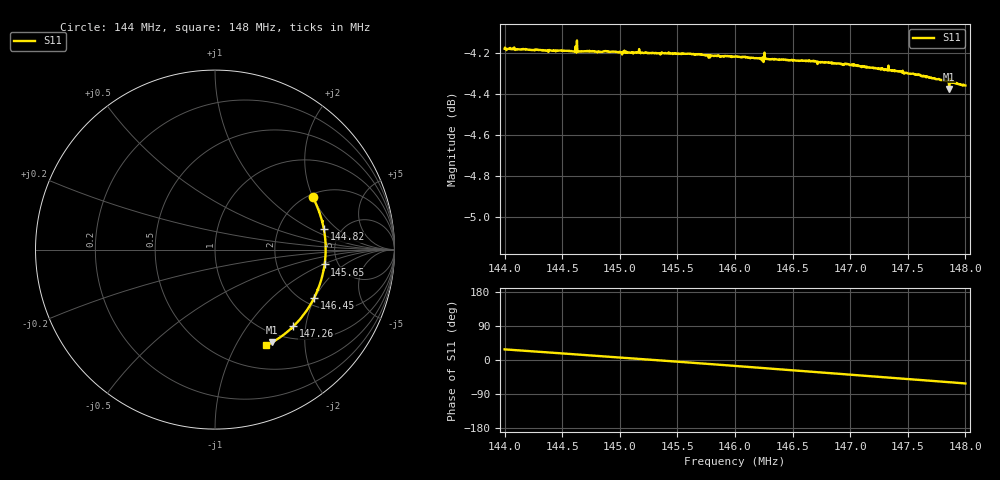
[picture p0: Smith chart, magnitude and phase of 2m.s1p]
! Calibrated averaged scanner-service zoom
# Hz S RI R 50
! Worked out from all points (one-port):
!   1001 points, 144 MHz to 148 MHz, reference 50 ohm
!   lowest |S11| = -4.4 dB at 147.86 MHz (marker M1), VSWR 4.05, Z = 43.3 - j70.3 ohm
!   |S11| at or under -10 dB: nowhere
!   S11 on the Smith chart (normalised r, x): 144 MHz: 2.12, +2.00; 144.82 MHz: 3.70, +1.35; 145.65 MHz: 3.91, -1.04; 146.45 MHz: 2.30, -1.97; 147.26 MHz: 1.25, -1.71; 148 MHz: 0.80, -1.34
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1.44e8  0.5454 0.2907
1.44016e8  0.5466 0.2873
1.44064e8  0.5521 0.2775
1.4428e8  0.5725 0.232
1.445e8  0.5893 0.1841
1.44636e8  0.5977 0.1536
1.44816e8  0.6066 0.1126
1.45e8  0.613 0.07
1.45148e8  0.6157 0.0355
1.45236e8  0.6164 0.0147
1.4538e8  0.6162 -0.0192
1.455e8  0.6145 -0.0477
1.45648e8  0.6106 -0.0828
1.4584e8  0.6021 -0.1279
1.46e8  0.5927 -0.1652
1.461e8  0.5856 -0.1882
1.46272e8  0.5709 -0.2272
1.46452e8  0.553 -0.2672
1.465e8  0.5476 -0.2775
1.4666e8  0.5286 -0.3117
1.46776e8  0.5132 -0.3358
1.47e8  0.4802 -0.3802
1.47256e8  0.4372 -0.4272
1.475e8  0.3913 -0.4674
1.47688e8  0.3531 -0.4953
1.4786e8  0.3163 -0.5149
1.4798e8  0.2897 -0.5317
1.48e8  0.2852 -0.5341
